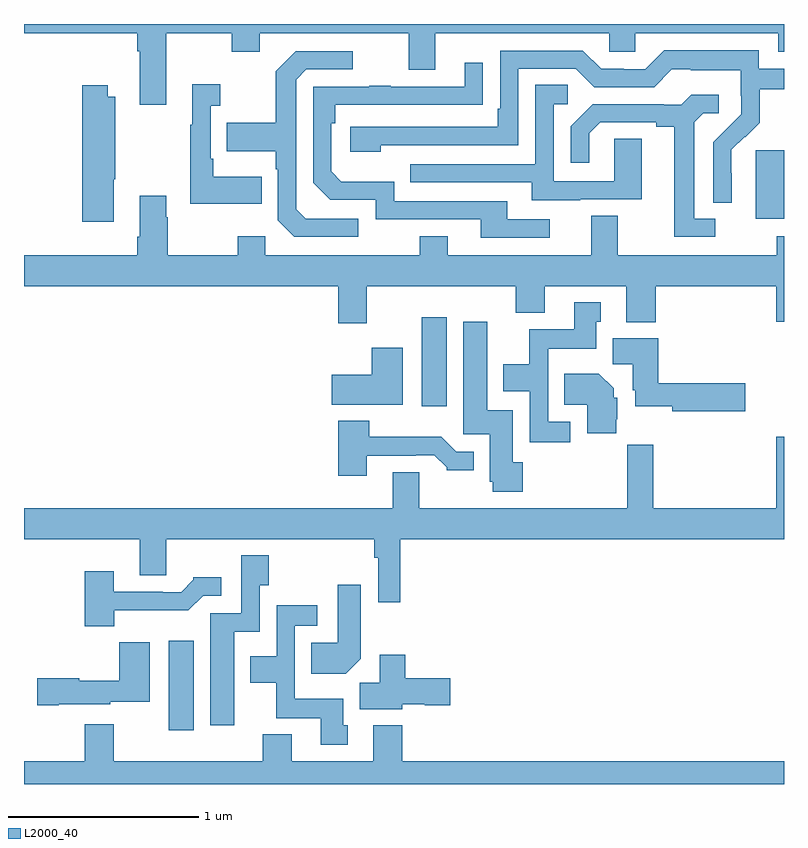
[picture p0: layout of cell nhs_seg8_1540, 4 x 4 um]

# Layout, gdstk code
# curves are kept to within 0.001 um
import gdstk
lib = gdstk.Library(unit=1e-6, precision=1e-09)
def R(c, l, rs):  # rectangles x0, y0, x1, y1
    for r in rs: c.add(gdstk.rectangle(r[:2], r[2:], *l))
def P(c, l, *ps):  # polygons
    for p in ps: c.add(gdstk.Polygon(p, *l))
L2000_40 = (2000, 40)

nhs_seg8_1540 = lib.new_cell('nhs_seg8_1540')
R(nhs_seg8_1540, L2000_40, [(209.762,1094.184,209.893,1094.653), (211.094,1095.888,211.225,1096.357), (212.852,1096.874,213,1097.235)])
P(nhs_seg8_1540, L2000_40, [(209.749,1097.852),(210.094,1097.852),(210.094,1097.753),(210.241,1097.753),(210.241,1097.852),(211.025,1097.852),(211.025,1097.658),(211.165,1097.658),(211.165,1097.852),(212.079,1097.852),(212.079,1097.754),(212.217,1097.754),(212.217,1097.852),(212.969,1097.852),(212.969,1097.753),(213,1097.753),(213,1097.9),(209,1097.9),(209,1097.852),(209.597,1097.852),(209.597,1097.756),(209.609,1097.756),(209.609,1097.475),(209.749,1097.475)],
  [(212.724,1097.114),(212.723,1097.237),(212.793,1097.307),(212.796,1097.304),(212.873,1097.381),(212.873,1097.556),(213,1097.556),(213,1097.664),(212.868,1097.664),(212.868,1097.761),(212.371,1097.761),(212.271,1097.661),(212.156,1097.661),(212.156,1097.664),(212.037,1097.664),(211.941,1097.76),(211.506,1097.76),(211.506,1097.455),(211.493,1097.455),(211.493,1097.358),(210.717,1097.358),(210.717,1097.228),(210.878,1097.228),(210.878,1097.262),(211.602,1097.262),(211.602,1097.664),(211.905,1097.664),(212.001,1097.568),(212.316,1097.568),(212.409,1097.661),(212.509,1097.661),(212.509,1097.657),(212.772,1097.657),(212.772,1097.523),(212.774,1097.523),(212.774,1097.426),(212.628,1097.278),(212.628,1096.96),(212.724,1096.96)],
  [(210.76,1096.875),(210.483,1096.875),(210.432,1096.926),(210.432,1097.607),(210.486,1097.661),(210.73,1097.661),(210.73,1097.757),(210.429,1097.757),(210.324,1097.651),(210.324,1097.379),(210.067,1097.379),(210.067,1097.231),(210.324,1097.231),(210.324,1097.135),(210.336,1097.135),(210.336,1096.866),(210.423,1096.779),(210.76,1096.779)],
  [(211.768,1096.872),(211.543,1096.872),(211.543,1096.968),(210.948,1096.968),(210.948,1097.071),(210.671,1097.071),(210.618,1097.124),(210.618,1097.378),(210.638,1097.378),(210.638,1097.475),(211.415,1097.476),(211.415,1097.695),(211.319,1097.695),(211.319,1097.571),(210.929,1097.571),(210.929,1097.576),(210.817,1097.576),(210.817,1097.571),(210.522,1097.571),(210.522,1097.064),(210.612,1096.974),(210.852,1096.974),(210.852,1096.872),(211.403,1096.872),(211.403,1096.776),(211.768,1096.776)],
  [(210.251,1097.095),(209.995,1097.095),(209.995,1097.191),(209.982,1097.191),(209.982,1097.471),(210.034,1097.471),(210.034,1097.584),(209.885,1097.584),(209.885,1097.371),(209.874,1097.371),(209.874,1096.955),(210.251,1096.955)],
  [(211.927,1096.977),(212.251,1096.977),(212.251,1097.297),(212.106,1097.297),(212.106,1097.073),(211.788,1097.073),(211.788,1097.478),(211.861,1097.478),(211.861,1097.579),(211.692,1097.579),(211.692,1097.163),(211.033,1097.163),(211.033,1097.067),(211.673,1097.067),(211.673,1096.973),(211.927,1096.973)],
  [(209.473,1097.083),(209.481,1097.083),(209.481,1097.518),(209.44,1097.518),(209.44,1097.578),(209.306,1097.578),(209.306,1096.86),(209.473,1096.86)],
  [(212.638,1096.875),(212.527,1096.875),(212.527,1097.383),(212.574,1097.43),(212.656,1097.43),(212.656,1097.527),(212.512,1097.527),(212.46,1097.475),(212.366,1097.475),(212.366,1097.478),(211.994,1097.478),(211.878,1097.362),(211.878,1097.169),(211.975,1097.169),(211.975,1097.325),(212.032,1097.382),(212.327,1097.382),(212.327,1097.36),(212.423,1097.36),(212.423,1096.779),(212.638,1096.779)],
  [(210.805,1096.52),(211.589,1096.52),(211.589,1096.379),(211.741,1096.379),(211.741,1096.52),(212.171,1096.52),(212.171,1096.331),(212.324,1096.331),(212.324,1096.52),(212.96,1096.52),(212.96,1096.332),(213,1096.332),(213,1096.783),(212.962,1096.783),(212.962,1096.684),(212.125,1096.684),(212.125,1096.892),(211.985,1096.892),(211.985,1096.684),(211.231,1096.684),(211.231,1096.783),(211.084,1096.783),(211.084,1096.684),(210.27,1096.684),(210.27,1096.783),(210.124,1096.783),(210.124,1096.684),(209.757,1096.684),(209.757,1096.883),(209.749,1096.883),(209.749,1096.996),(209.609,1096.996),(209.609,1096.78),(209.597,1096.78),(209.597,1096.684),(209,1096.684),(209,1096.52),(210.653,1096.52),(210.653,1096.326),(210.805,1096.326)],
  [(211.876,1095.807),(211.758,1095.807),(211.758,1096.19),(212.011,1096.19),(212.011,1096.332),(212.035,1096.332),(212.035,1096.435),(211.895,1096.435),(211.895,1096.294),(211.66,1096.294),(211.66,1096.108),(211.523,1096.108),(211.523,1095.968),(211.662,1095.968),(211.662,1095.699),(211.876,1095.699)],
  [(211.625,1095.594),(211.573,1095.594),(211.573,1095.868),(211.438,1095.868),(211.438,1096.333),(211.313,1096.333),(211.313,1095.741),(211.451,1095.741),(211.451,1095.492),(211.468,1095.492),(211.468,1095.438),(211.625,1095.438)],
  [(212.797,1096.01),(212.339,1096.01),(212.339,1096.246),(212.099,1096.246),(212.099,1096.108),(212.204,1096.108),(212.204,1095.972),(212.216,1095.972),(212.216,1095.887),(212.412,1095.887),(212.412,1095.863),(212.797,1095.863)],
  [(210.994,1096.195),(210.83,1096.195),(210.83,1096.054),(210.621,1096.054),(210.621,1095.896),(210.994,1095.896)],
  [(212.117,1095.819),(212.122,1095.819),(212.122,1095.933),(212.104,1095.933),(212.104,1095.982),(212.026,1096.06),(211.843,1096.06),(211.843,1095.896),(211.964,1095.896),(211.964,1095.746),(212.117,1095.746)],
  [(210.805,1095.627),(211.061,1095.627),(211.061,1095.63),(211.16,1095.63),(211.224,1095.566),(211.224,1095.551),(211.366,1095.551),(211.366,1095.648),(211.275,1095.648),(211.197,1095.727),(210.818,1095.727),(210.818,1095.811),(210.653,1095.811),(210.653,1095.522),(210.805,1095.522)],
  [(210.98,1095.188),(213,1095.188),(213,1095.727),(212.96,1095.727),(212.96,1095.352),(212.312,1095.352),(212.312,1095.685),(212.176,1095.685),(212.176,1095.352),(211.081,1095.352),(211.081,1095.542),(210.941,1095.542),(210.941,1095.352),(209,1095.352),(209,1095.188),(209.609,1095.188),(209.609,1094.998),(209.749,1094.998),(209.749,1095.188),(210.844,1095.188),(210.844,1095.092),(210.864,1095.092),(210.864,1094.856),(210.98,1094.856)],
  [(210.106,1094.702),(210.24,1094.702),(210.24,1094.947),(210.288,1094.947),(210.288,1095.103),(210.144,1095.103),(210.144,1094.799),(209.981,1094.799),(209.981,1094.208),(210.106,1094.208)],
  [(209.476,1094.814),(209.865,1094.814),(209.943,1094.892),(210.037,1094.892),(210.037,1094.989),(209.892,1094.989),(209.892,1094.974),(209.828,1094.91),(209.729,1094.91),(209.729,1094.913),(209.473,1094.913),(209.473,1095.019),(209.321,1095.019),(209.321,1094.729),(209.476,1094.729)],
  [(210.772,1094.558),(210.772,1094.95),(210.65,1094.95),(210.65,1094.644),(210.511,1094.644),(210.511,1094.48),(210.694,1094.48)],
  [(210.703,1094.208),(210.679,1094.208),(210.679,1094.35),(210.426,1094.35),(210.426,1094.733),(210.544,1094.733),(210.544,1094.842),(210.33,1094.842),(210.33,1094.572),(210.191,1094.572),(210.191,1094.432),(210.328,1094.432),(210.328,1094.246),(210.563,1094.246),(210.563,1094.106),(210.703,1094.106)],
  [(209.182,1094.321),(209.454,1094.321),(209.454,1094.333),(209.662,1094.333),(209.662,1094.647),(209.5,1094.647),(209.5,1094.443),(209.292,1094.443),(209.292,1094.456),(209.07,1094.456),(209.07,1094.314),(209.182,1094.314)],
  [(210.99,1094.321),(211.11,1094.321),(211.11,1094.314),(211.243,1094.314),(211.243,1094.456),(211.007,1094.456),(211.007,1094.581),(210.872,1094.581),(210.872,1094.432),(210.767,1094.432),(210.767,1094.294),(210.99,1094.294)],
  [(213,1094.02),(210.992,1094.02),(210.992,1094.209),(210.839,1094.209),(210.839,1094.02),(210.409,1094.02),(210.409,1094.161),(210.257,1094.161),(210.257,1094.02),(209.473,1094.02),(209.473,1094.215),(209.321,1094.215),(209.321,1094.02),(209,1094.02),(209,1093.9),(213,1093.9)])

lib.write_gds('nhs_seg8_1540.gds')
